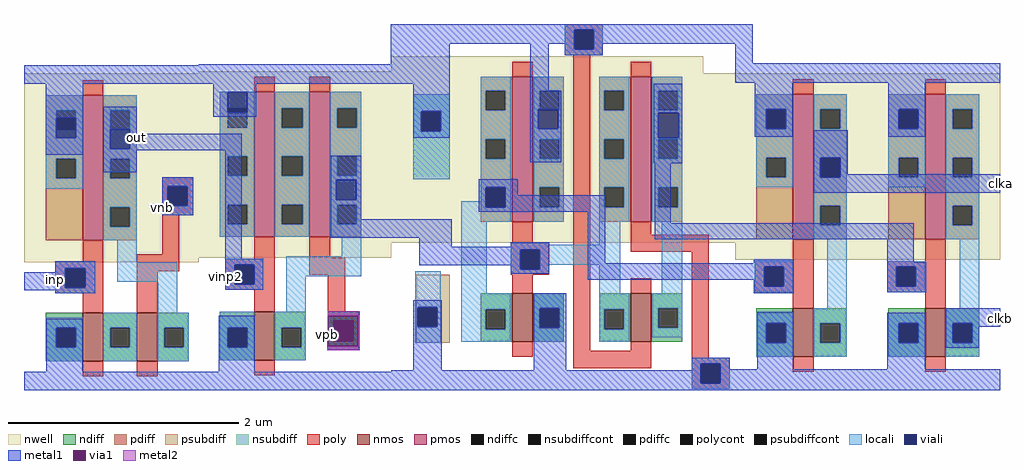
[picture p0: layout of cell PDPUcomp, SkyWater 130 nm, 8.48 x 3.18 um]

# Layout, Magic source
magic
tech sky130A
magscale 1 2
<< nwell >>
rect 330 507 364 510
rect 330 476 364 484
rect 330 449 364 472
rect 172 410 354 438
<< pdiff >>
rect 330 507 364 510
rect 330 476 364 484
rect 330 449 364 472
<< locali >>
rect 330 449 364 472
<< viali >>
rect 330 476 364 510
rect 32 431 66 466
rect 126 412 160 446
rect 1360 363 1394 397
rect 226 313 260 347
rect 519 324 553 358
rect 48 171 82 205
rect 342 177 376 211
rect 838 203 872 237
rect 32 67 66 101
rect 330 67 364 101
rect 514 79 548 113
rect 1590 75 1624 109
<< metal1 >>
rect 316 542 374 551
rect 14 466 79 538
rect 316 537 380 542
rect 305 510 380 537
rect 613 525 654 629
rect 14 431 32 466
rect 66 431 79 466
rect 14 402 79 431
rect 114 446 172 485
rect 305 476 330 510
rect 364 476 380 510
rect 305 468 380 476
rect 114 412 126 446
rect 160 438 172 446
rect 160 412 354 438
rect 114 410 354 412
rect 114 371 172 410
rect 216 347 270 363
rect 216 313 226 347
rect 260 313 270 347
rect 216 297 270 313
rect 326 221 354 410
rect 509 358 562 400
rect 509 324 519 358
rect 553 324 562 358
rect 1348 397 1407 444
rect 1348 363 1360 397
rect 1394 368 1407 397
rect 1394 363 1672 368
rect 1348 336 1672 363
rect 509 290 562 324
rect 509 258 719 290
rect 663 242 719 258
rect 822 242 889 250
rect 663 237 889 242
rect 30 205 100 217
rect 30 198 48 205
rect -24 171 48 198
rect 82 171 100 205
rect -24 166 100 171
rect 326 211 392 221
rect 326 177 342 211
rect 376 177 392 211
rect 663 210 838 237
rect 822 203 838 210
rect 872 203 889 237
rect 822 195 889 203
rect 326 167 392 177
rect 30 161 100 166
rect 504 122 558 129
rect 15 101 78 117
rect 15 67 32 101
rect 66 67 78 101
rect 15 9 78 67
rect 314 101 377 122
rect 314 67 330 101
rect 364 67 377 101
rect 314 11 377 67
rect 557 69 558 122
rect 504 63 558 69
rect 1578 109 1672 135
rect 1578 75 1590 109
rect 1624 103 1672 109
rect 1624 75 1636 103
rect 1578 66 1636 75
<< via1 >>
rect 504 113 557 122
rect 504 79 514 113
rect 514 79 548 113
rect 548 79 557 113
rect 504 69 557 79
<< metal2 >>
rect 504 122 559 130
rect 503 69 504 90
rect 557 69 559 122
rect 503 62 559 69
use comp_clks  comp_clks_0
transform 1 0 176 0 1 -541
box 438 534 1496 1170
use inv_weak_pullup  inv_weak_pullup_0
transform 1 0 810 0 1 155
box -530 -162 -182 404
use inv_weak_pulldown  inv_weak_pulldown_0
transform 1 0 98 0 1 71
box -122 -78 182 486
<< labels >>
rlabel metal1 30 185 30 185 7 inp
rlabel metal1 216 310 216 310 7 vnb
rlabel metal1 172 432 172 432 3 out
rlabel metal1 326 190 326 190 7 vinp2
rlabel via1 504 90 504 90 7 vpb
rlabel metal1 1672 118 1672 118 3 clkb
rlabel metal1 1672 352 1672 352 3 clka
<< end >>

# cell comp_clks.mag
magic
tech sky130A
<< nwell >>
rect 219 542 490 557
rect 219 395 531 542
<< nmos >>
rect 324 309 342 351
rect 427 309 445 351
<< pmos >>
rect 324 413 342 539
rect 427 413 445 539
<< ndiff >>
rect 297 337 324 351
rect 297 320 301 337
rect 318 320 324 337
rect 297 309 324 320
rect 342 338 369 351
rect 342 321 348 338
rect 365 321 369 338
rect 342 309 369 321
rect 400 337 427 351
rect 400 320 404 337
rect 421 320 427 337
rect 400 309 427 320
rect 445 338 472 351
rect 445 321 451 338
rect 468 321 472 338
rect 445 309 472 321
<< pdiff >>
rect 297 527 324 539
rect 297 510 301 527
rect 318 510 324 527
rect 297 485 324 510
rect 297 468 301 485
rect 318 468 324 485
rect 297 443 324 468
rect 297 426 301 443
rect 318 426 324 443
rect 297 413 324 426
rect 342 527 369 539
rect 342 510 348 527
rect 365 510 369 527
rect 342 485 369 510
rect 342 468 348 485
rect 365 468 369 485
rect 342 443 369 468
rect 342 426 348 443
rect 365 426 369 443
rect 342 413 369 426
rect 400 527 427 539
rect 400 510 404 527
rect 421 510 427 527
rect 400 485 427 510
rect 400 468 404 485
rect 421 468 427 485
rect 400 443 427 468
rect 400 426 404 443
rect 421 426 427 443
rect 400 413 427 426
rect 445 527 472 539
rect 445 510 451 527
rect 468 510 472 527
rect 445 485 472 510
rect 445 468 451 485
rect 468 468 472 485
rect 445 443 472 468
rect 445 426 451 443
rect 468 426 472 443
rect 445 413 472 426
<< ndiffc >>
rect 301 320 318 337
rect 348 321 365 338
rect 404 320 421 337
rect 451 321 468 338
<< pdiffc >>
rect 301 510 318 527
rect 301 468 318 485
rect 301 426 318 443
rect 348 510 365 527
rect 348 468 365 485
rect 348 426 365 443
rect 404 510 421 527
rect 404 468 421 485
rect 404 426 421 443
rect 451 510 468 527
rect 451 468 468 485
rect 451 426 468 443
<< psubdiff >>
rect 241 339 270 367
rect 241 322 242 339
rect 259 322 270 339
rect 241 308 270 322
<< nsubdiff >>
rect 238 509 270 524
rect 238 492 245 509
rect 262 492 270 509
rect 238 450 270 492
<< psubdiffcont >>
rect 242 322 259 339
<< nsubdiffcont >>
rect 245 492 262 509
<< poly >>
rect 370 580 403 585
rect 370 563 378 580
rect 395 563 403 580
rect 370 558 403 563
rect 324 539 342 552
rect 324 395 342 413
rect 323 389 356 395
rect 323 372 331 389
rect 348 372 356 389
rect 323 367 356 372
rect 324 351 342 367
rect 324 296 342 309
rect 377 301 392 558
rect 427 539 445 552
rect 427 402 445 413
rect 427 387 495 402
rect 427 351 445 364
rect 427 301 445 309
rect 377 286 445 301
rect 480 295 495 387
rect 480 290 513 295
rect 480 273 488 290
rect 505 273 513 290
rect 480 268 513 273
<< polycont >>
rect 378 563 395 580
rect 331 372 348 389
rect 658 357 675 374
rect 488 273 505 290
<< locali >>
rect 370 580 403 585
rect 370 563 378 580
rect 395 563 403 580
rect 370 558 403 563
rect 297 527 323 539
rect 238 509 270 524
rect 238 492 245 509
rect 262 492 270 509
rect 238 450 270 492
rect 297 510 301 527
rect 318 510 323 527
rect 297 485 323 510
rect 297 468 301 485
rect 318 468 323 485
rect 297 443 323 468
rect 297 431 301 443
rect 280 426 301 431
rect 318 426 323 443
rect 280 413 323 426
rect 343 527 369 539
rect 343 511 348 527
rect 343 494 347 511
rect 365 510 369 527
rect 364 494 369 510
rect 343 485 369 494
rect 343 468 348 485
rect 365 468 369 485
rect 343 443 369 468
rect 343 426 348 443
rect 365 426 369 443
rect 343 413 369 426
rect 400 527 426 539
rect 400 510 404 527
rect 421 510 426 527
rect 400 485 426 510
rect 400 468 404 485
rect 421 468 426 485
rect 400 443 426 468
rect 400 426 404 443
rect 421 426 426 443
rect 400 413 426 426
rect 446 527 472 539
rect 446 510 451 527
rect 468 510 472 527
rect 446 508 472 510
rect 446 486 451 508
rect 469 486 472 508
rect 446 485 472 486
rect 446 468 451 485
rect 468 468 472 485
rect 446 443 472 468
rect 446 426 451 443
rect 468 426 472 443
rect 446 413 472 426
rect 240 339 262 370
rect 240 322 242 339
rect 259 322 262 339
rect 240 308 262 322
rect 280 351 302 413
rect 323 393 356 395
rect 400 393 418 413
rect 323 389 418 393
rect 323 372 331 389
rect 348 376 418 389
rect 348 372 356 376
rect 323 368 356 372
rect 400 351 418 376
rect 454 351 472 413
rect 280 337 323 351
rect 280 320 301 337
rect 318 320 323 337
rect 280 309 323 320
rect 343 338 369 351
rect 343 321 348 338
rect 365 321 369 338
rect 343 309 369 321
rect 400 337 426 351
rect 400 320 404 337
rect 421 320 426 337
rect 400 309 426 320
rect 446 338 472 351
rect 446 321 451 338
rect 468 321 472 338
rect 446 313 472 321
rect 480 290 513 295
rect 480 273 488 290
rect 505 273 513 290
rect 480 268 513 273
<< viali >>
rect 378 563 395 580
rect 245 492 262 509
rect 301 426 318 443
rect 347 510 348 511
rect 348 510 364 511
rect 347 494 364 510
rect 451 486 469 508
rect 545 494 562 511
rect 660 494 677 511
rect 242 322 259 339
rect 543 357 560 374
rect 658 357 675 374
rect 348 321 365 338
rect 545 308 562 325
rect 660 308 677 325
rect 488 273 505 290
<< metal1 >>
rect 219 580 533 585
rect 219 568 378 580
rect 238 509 270 568
rect 238 492 245 509
rect 262 492 270 509
rect 238 486 270 492
rect 340 527 356 568
rect 370 563 378 568
rect 395 568 533 580
rect 395 563 403 568
rect 370 558 403 563
rect 518 534 533 568
rect 340 511 367 527
rect 340 494 347 511
rect 364 494 367 511
rect 340 465 367 494
rect 447 508 472 533
rect 447 486 451 508
rect 469 486 472 508
rect 535 511 568 545
rect 535 494 545 511
rect 562 494 568 511
rect 535 487 568 494
rect 651 511 683 545
rect 651 494 660 511
rect 677 494 683 511
rect 651 487 683 494
rect 447 464 472 486
rect 295 443 329 450
rect 295 426 301 443
rect 318 436 329 443
rect 318 426 405 436
rect 295 422 405 426
rect 390 377 405 422
rect 448 412 462 464
rect 448 398 673 412
rect 534 377 569 380
rect 390 374 569 377
rect 390 363 543 374
rect 534 357 543 363
rect 560 357 569 374
rect 534 351 569 357
rect 650 378 673 398
rect 650 374 684 378
rect 650 357 658 374
rect 675 357 684 374
rect 650 352 684 357
rect 238 339 263 345
rect 238 322 242 339
rect 259 322 263 339
rect 238 284 263 322
rect 343 338 371 351
rect 343 321 348 338
rect 365 321 371 338
rect 343 284 371 321
rect 537 325 569 335
rect 537 308 545 325
rect 562 308 569 325
rect 480 290 513 295
rect 480 284 488 290
rect 219 273 488 284
rect 505 285 513 290
rect 505 284 522 285
rect 505 273 518 284
rect 537 273 569 308
rect 650 325 683 334
rect 650 308 660 325
rect 677 308 683 325
rect 219 267 518 273
rect 650 269 683 308
use inv3x  inv3x_0
transform 1 0 578 0 1 307
box -60 -40 55 244
use inv3x  inv3x_1
transform 1 0 693 0 1 307
box -60 -40 55 244
<< labels >>
rlabel metal1 219 575 219 575 7 VDD
rlabel metal1 219 275 219 275 7 GND
<< end >>

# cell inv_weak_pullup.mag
magic
tech sky130A
<< nwell >>
rect -265 34 -98 196
<< nmos >>
rect -217 -55 -199 -13
<< pmos >>
rect -217 52 -199 178
rect -169 52 -151 178
<< ndiff >>
rect -247 -27 -217 -13
rect -247 -44 -240 -27
rect -223 -44 -217 -27
rect -247 -55 -217 -44
rect -199 -27 -172 -13
rect -199 -44 -193 -27
rect -176 -44 -172 -27
rect -199 -55 -172 -44
<< pdiff >>
rect -247 164 -217 178
rect -247 147 -240 164
rect -223 147 -217 164
rect -247 122 -217 147
rect -247 105 -240 122
rect -223 105 -217 122
rect -247 80 -217 105
rect -247 63 -240 80
rect -223 63 -217 80
rect -247 52 -217 63
rect -199 164 -169 178
rect -199 147 -193 164
rect -175 147 -169 164
rect -199 122 -169 147
rect -199 105 -193 122
rect -175 105 -169 122
rect -199 80 -169 105
rect -199 63 -193 80
rect -175 63 -169 80
rect -199 52 -169 63
rect -151 164 -124 178
rect -151 147 -145 164
rect -128 147 -124 164
rect -151 122 -124 147
rect -151 105 -145 122
rect -128 105 -124 122
rect -151 80 -124 105
rect -151 63 -145 80
rect -128 63 -124 80
rect -151 52 -124 63
<< ndiffc >>
rect -240 -44 -223 -27
rect -193 -44 -176 -27
<< pdiffc >>
rect -240 147 -223 164
rect -240 105 -223 122
rect -240 63 -223 80
rect -193 147 -175 164
rect -193 105 -175 122
rect -193 63 -175 80
rect -145 147 -128 164
rect -145 105 -128 122
rect -145 63 -128 80
<< poly >>
rect -217 178 -199 191
rect -169 178 -151 191
rect -217 33 -199 52
rect -242 28 -199 33
rect -242 11 -234 28
rect -217 11 -199 28
rect -169 34 -151 52
rect -169 19 -138 34
rect -242 6 -199 11
rect -217 -13 -199 6
rect -153 -13 -138 19
rect -153 -21 -126 -13
rect -153 -38 -148 -21
rect -131 -38 -126 -21
rect -153 -46 -126 -38
rect -217 -68 -199 -55
<< polycont >>
rect -234 11 -217 28
rect -148 -38 -131 -21
<< locali >>
rect -247 164 -217 178
rect -247 147 -240 164
rect -223 147 -217 164
rect -247 122 -217 147
rect -247 105 -240 122
rect -223 105 -217 122
rect -247 80 -217 105
rect -247 63 -240 80
rect -223 63 -217 80
rect -247 52 -217 63
rect -199 164 -169 178
rect -199 147 -193 164
rect -175 147 -169 164
rect -199 122 -169 147
rect -199 105 -193 122
rect -175 105 -169 122
rect -199 80 -169 105
rect -199 63 -193 80
rect -175 63 -169 80
rect -199 52 -169 63
rect -151 164 -124 178
rect -151 147 -145 164
rect -128 147 -124 164
rect -151 122 -124 147
rect -151 105 -145 122
rect -128 105 -124 122
rect -151 80 -124 105
rect -151 63 -145 80
rect -128 63 -124 80
rect -151 52 -124 63
rect -141 35 -124 52
rect -242 28 -209 33
rect -242 11 -234 28
rect -217 11 -209 28
rect -242 6 -209 11
rect -189 18 -124 35
rect -189 -13 -172 18
rect -247 -27 -217 -13
rect -247 -44 -240 -27
rect -223 -44 -217 -27
rect -247 -55 -217 -44
rect -199 -27 -172 -13
rect -199 -44 -193 -27
rect -176 -44 -172 -27
rect -199 -55 -172 -44
rect -153 -21 -126 -13
rect -153 -38 -148 -21
rect -131 -38 -126 -21
rect -153 -46 -126 -38
<< metal1 >>
rect -265 185 -91 202
rect -265 -81 -98 -65
<< labels >>
rlabel metal1 -98 196 -98 196 3 VDD
rlabel metal1 -98 -72 -98 -72 7 GND
<< end >>

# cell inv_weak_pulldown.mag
magic
tech sky130A
<< nwell >>
rect -61 72 91 236
<< nmos >>
rect -10 -14 8 28
rect 37 -14 55 28
<< pmos >>
rect -10 91 8 217
<< ndiff >>
rect -42 15 -10 28
rect -42 -2 -33 15
rect -16 -2 -10 15
rect -42 -14 -10 -2
rect 8 15 37 28
rect 8 -2 14 15
rect 31 -2 37 15
rect 8 -14 37 -2
rect 55 15 82 28
rect 55 -2 61 15
rect 78 -2 82 15
rect 55 -14 82 -2
<< pdiff >>
rect -42 204 -10 217
rect -42 187 -33 204
rect -16 187 -10 204
rect -42 162 -10 187
rect -42 145 -33 162
rect -16 145 -10 162
rect -42 91 -10 145
rect 8 204 37 217
rect 8 187 14 204
rect 31 187 37 204
rect 8 162 37 187
rect 8 145 14 162
rect 31 145 37 162
rect 8 120 37 145
rect 8 103 14 120
rect 31 103 37 120
rect 8 91 37 103
<< ndiffc >>
rect -33 -2 -16 15
rect 14 -2 31 15
rect 61 -2 78 15
<< pdiffc >>
rect -33 187 -16 204
rect -33 145 -16 162
rect 14 187 31 204
rect 14 145 31 162
rect 14 103 31 120
<< poly >>
rect -10 217 8 230
rect 59 138 86 146
rect 59 121 64 138
rect 81 121 86 138
rect 59 113 86 121
rect -10 73 8 91
rect 59 79 74 113
rect -34 67 8 73
rect -34 50 -25 67
rect -8 50 8 67
rect -34 45 8 50
rect -10 28 8 45
rect 37 64 74 79
rect 37 28 55 64
rect -10 -27 8 -14
rect 37 -27 55 -14
<< polycont >>
rect 64 121 81 138
rect -25 50 -8 67
<< locali >>
rect -42 204 -10 217
rect -42 187 -33 204
rect -16 187 -10 204
rect -42 162 -10 187
rect -42 145 -33 162
rect -16 145 -10 162
rect -42 136 -10 145
rect 8 204 37 217
rect 8 187 14 204
rect 31 187 37 204
rect 8 162 37 187
rect 8 145 14 162
rect 31 145 37 162
rect 8 120 37 145
rect 8 103 14 120
rect 31 103 37 120
rect 59 138 86 146
rect 59 121 64 138
rect 81 121 86 138
rect 59 113 86 121
rect 8 91 37 103
rect -34 67 1 73
rect -34 50 -25 67
rect -8 50 1 67
rect 20 72 37 91
rect 20 55 72 72
rect -34 45 1 50
rect 55 28 72 55
rect -42 15 -10 24
rect -42 -2 -33 15
rect -16 -2 -10 15
rect -42 -14 -10 -2
rect 8 15 37 28
rect 8 -2 14 15
rect 31 -2 37 15
rect 8 -14 37 -2
rect 55 15 82 28
rect 55 -2 61 15
rect 78 -2 82 15
rect 55 -14 82 -2
<< metal1 >>
rect -61 227 91 243
rect -61 -39 91 -23
<< labels >>
rlabel metal1 91 236 91 236 3 VDD
rlabel metal1 91 -35 91 -35 3 GND
<< end >>

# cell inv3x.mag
magic
tech sky130A
<< nwell >>
rect -60 73 55 235
<< nmos >>
rect -10 -11 8 31
<< pmos >>
rect -10 91 8 217
<< ndiff >>
rect -42 18 -10 31
rect -42 1 -33 18
rect -16 1 -10 18
rect -42 -11 -10 1
rect 8 18 37 31
rect 8 1 14 18
rect 31 1 37 18
rect 8 -11 37 1
<< pdiff >>
rect -42 204 -10 217
rect -42 187 -33 204
rect -16 187 -10 204
rect -42 162 -10 187
rect -42 145 -33 162
rect -16 145 -10 162
rect -42 91 -10 145
rect 8 204 37 217
rect 8 187 14 204
rect 31 187 37 204
rect 8 162 37 187
rect 8 145 14 162
rect 31 145 37 162
rect 8 120 37 145
rect 8 103 14 120
rect 31 103 37 120
rect 8 91 37 103
<< ndiffc >>
rect -33 1 -16 18
rect 14 1 31 18
<< pdiffc >>
rect -33 187 -16 204
rect -33 145 -16 162
rect 14 187 31 204
rect 14 145 31 162
rect 14 103 31 120
<< poly >>
rect -10 217 8 230
rect -10 72 8 91
rect -43 67 8 72
rect -43 50 -35 67
rect -18 50 8 67
rect -43 45 8 50
rect -10 31 8 45
rect -10 -24 8 -11
<< polycont >>
rect -35 50 -18 67
<< locali >>
rect -42 204 -10 217
rect -42 187 -33 204
rect -16 187 -10 204
rect -42 162 -10 187
rect -42 145 -33 162
rect -16 145 -10 162
rect -42 136 -10 145
rect 8 204 37 217
rect 8 187 14 204
rect 31 187 37 204
rect 8 162 37 187
rect 8 145 14 162
rect 31 145 37 162
rect 8 120 37 145
rect 8 103 14 120
rect 31 103 37 120
rect 8 91 37 103
rect -43 67 -10 72
rect -43 50 -35 67
rect -18 50 -10 67
rect -43 45 -10 50
rect 20 31 37 91
rect -42 18 -10 27
rect -42 1 -33 18
rect -16 1 -10 18
rect -42 -11 -10 1
rect 8 18 37 31
rect 8 1 14 18
rect 31 1 37 18
rect 8 -11 37 1
<< metal1 >>
rect -60 227 55 244
rect -60 -40 55 -22
<< end >>
